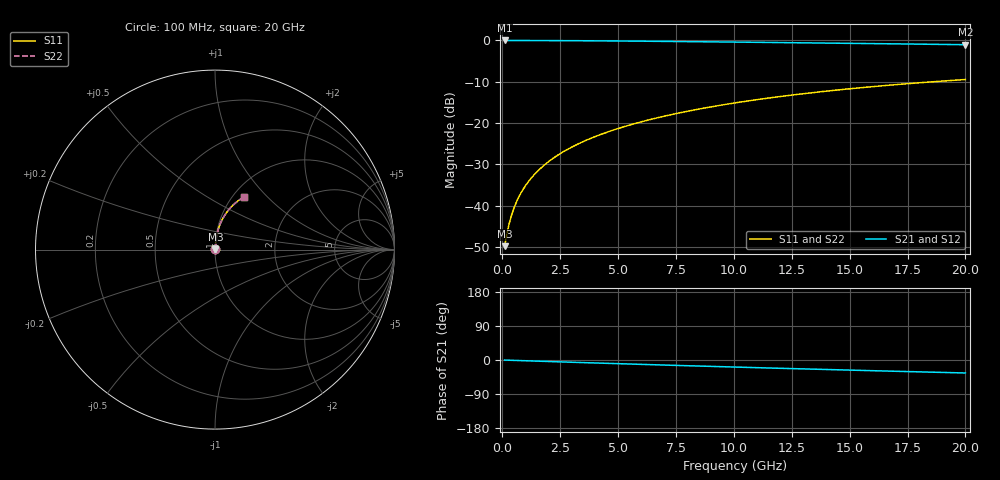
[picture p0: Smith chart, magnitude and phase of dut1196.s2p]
! Touchstone file exported from HFSS 2024.1.0
!  File:  C:/UserFiles/LocalFiles/RDL_TSV_Batchsim/temp_RDL_top_1196_1780049782.aedt
!  Generated:  06:18:23 PM May 29, 2026
!  Design:  RDL_top
!  Project:  temp_RDL_top_1196_1780049782
!  Setup:  Setup1
!  Solution:  Sweep
! Variables:
!  dtsv = 10.80580581um
!  hbump = 3um
!  htsv = 61.8um
!  ldown = 100um
!  lrdl = 488.55um
!  p = 40
!  p1 = 42.51um
!  rhole = 1um
!  t = 450um
!  tdown = 3.915915916um
!  trdl = 3.92um
!  wdown = 15.38538539um
!  wrdl = 17.57um
# GHz S MA R 50.000000
! Terminal data exported
! Port[1] = Box2_T1
! Port[2] = Box2_T2
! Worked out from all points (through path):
!   200 points, 100 MHz to 20 GHz, reference 50 ohm
!   highest |S21| = -0.02 dB at 100 MHz (marker M1); lowest = -1.1 dB at 20 GHz (marker M2)
!   group delay of S21, straight-line fit = 4.73 ps
!   lowest |S11| = -49.8 dB at 100 MHz (marker M3), VSWR 1.01, Z = 50.3 + j0.185 ohm
!   |S11| at or under -10 dB: start of sweep to 18.64 GHz
!   |S22| runs from -49.8 to -9.5 dB; largest |S21 - S12| = 2e-15
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0.1  0.003233 34.7  0.9973 -0.2  0.9973 -0.2  0.003233 34.7
! Gamma 0 0 0 0
! Port Impedance 50 0 50 0
0.2  0.004562 52.8  0.9972 -0.4  0.9972 -0.4  0.004562 52.8
0.3  0.006095 61.8  0.9971 -0.6  0.9971 -0.6  0.006095 61.8
0.4  0.007678 67.0  0.9969 -0.8  0.9969 -0.8  0.007678 67.0
0.5  0.009276 70.5  0.9968 -1.0  0.9968 -1.0  0.009276 70.5
0.6  0.01089 73.0  0.9967 -1.2  0.9967 -1.2  0.01089 73.0
0.8  0.01413 76.3  0.9964 -1.6  0.9964 -1.6  0.01413 76.3
1.1  0.01906 79.2  0.996 -2.2  0.996 -2.2  0.01906 79.2
1.3  0.02238 80.4  0.9957 -2.6  0.9957 -2.6  0.02238 80.4
1.6  0.02739 81.6  0.9951 -3.2  0.9951 -3.2  0.02739 81.6
2.1  0.0358 82.7  0.994 -4.2  0.994 -4.2  0.0358 82.7
2.7  0.04598 83.2  0.9923 -5.4  0.9923 -5.4  0.04598 83.2
3.5  0.05968 83.2  0.9894 -6.9  0.9894 -6.9  0.05968 83.2
4.2  0.07179 82.9  0.9865 -8.2  0.9865 -8.2  0.07178 82.9
5  0.08573 82.4  0.9828 -9.7  0.9828 -9.7  0.08573 82.4
5.9  0.1016 81.6  0.9782 -11.4  0.9782 -11.4  0.1016 81.6
6.8  0.1175 80.6  0.9732 -13.0  0.9732 -13.0  0.1175 80.6
8.4  0.1459 78.6  0.9637 -15.8  0.9637 -15.8  0.1459 78.6
10.1  0.176 76.2  0.9531 -18.8  0.9531 -18.8  0.176 76.2
13.4  0.233 71.2  0.9315 -24.2  0.9315 -24.2  0.233 71.2
16.7  0.2866 66.0  0.909 -29.3  0.909 -29.3  0.2866 66.0
20  0.3359 61.0  0.8861 -34.3  0.8861 -34.3  0.3359 61.0
